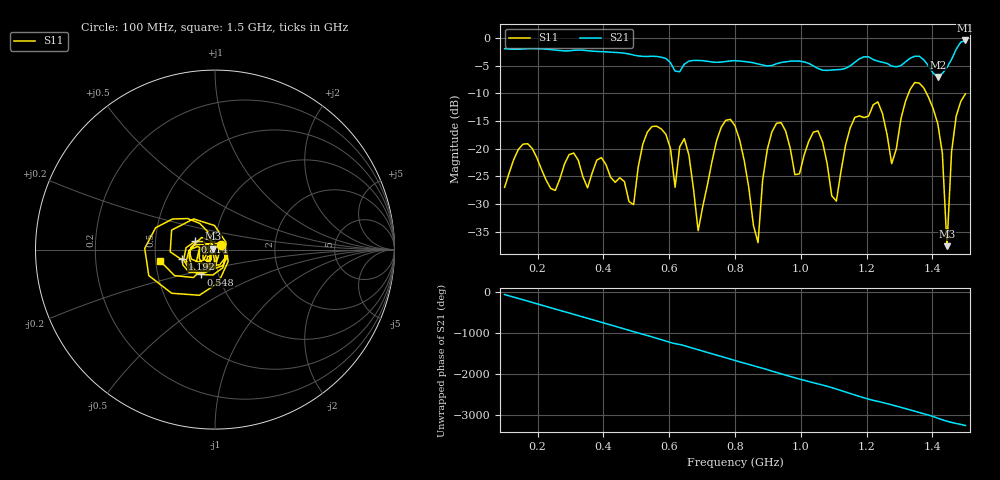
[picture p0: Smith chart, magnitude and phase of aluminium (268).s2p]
! NanoVNA-App
! Date: 2025-09-25 14:57:22
! Start: 100MHz Stop: 1,5GHz Points: 101
! S-Parameter data: F S11 S21 S12 S22
# Hz S RI R 50
!  Frequency  S11_Real  S11_Imag  S21_Real  S21_Imag  S12_Real  S12_Imag  S22_Real  S22_Imag
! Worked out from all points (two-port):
!   101 points, 100 MHz to 1.5 GHz, reference 50 ohm
!   highest |S21| = -0.44 dB at 1.5 GHz (marker M1); lowest = -7.1 dB at 1.416 GHz (marker M2)
!   |S21| within 3 dB of the highest: start of sweep to 574.4 MHz; 1.461 GHz to end of sweep (the widest 2 of 4)
!   lowest |S11| = -37.6 dB at 1.444 GHz (marker M3), VSWR 1.03, Z = 48.8 + j0.487 ohm
!   |S11| at or under -10 dB: start of sweep to 1.327 GHz; 1.382 GHz to end of sweep
!   S12 and S22 are empty: the file has one direction only
!   S11 on the Smith chart (normalised r, x): 100 MHz: 1.07, +0.06; 548 MHz: 0.82, -0.23; 814 MHz: 0.80, +0.07; 1.192 GHz: 0.69, -0.07; 1.5 GHz: 0.53, -0.07
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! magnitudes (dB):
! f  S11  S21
! 100 MHz  -27.0  -1.9
! 338 MHz  -25.1  -2.2
! 492 MHz  -30.1  -3.1
! 548 MHz  -16.0  -3.3
! 576 MHz  -16.4  -3.5
! 618 MHz  -26.9  -6.0
! 646 MHz  -18.2  -4.7
! 688 MHz  -34.8  -4.1
! 800 MHz  -15.8  -4.1
! 814 MHz  -18.4  -4.2
! 870 MHz  -36.9  -4.7
! 912 MHz  -17.0  -5.0
! 982 MHz  -24.7  -4.2
! 1.038 GHz  -17.0  -5.0
! 1.108 GHz  -29.4  -5.7
! 1.192 GHz  -14.4  -3.4
! 1.276 GHz  -22.7  -5.1
! 1.346 GHz  -8.0  -3.3
! 1.416 GHz  -15.4  -7.1
! 1.444 GHz  -37.6  -5.3
! 1.458 GHz  -20.5  -3.9
! 1.5 GHz  -10.1  -0.4
